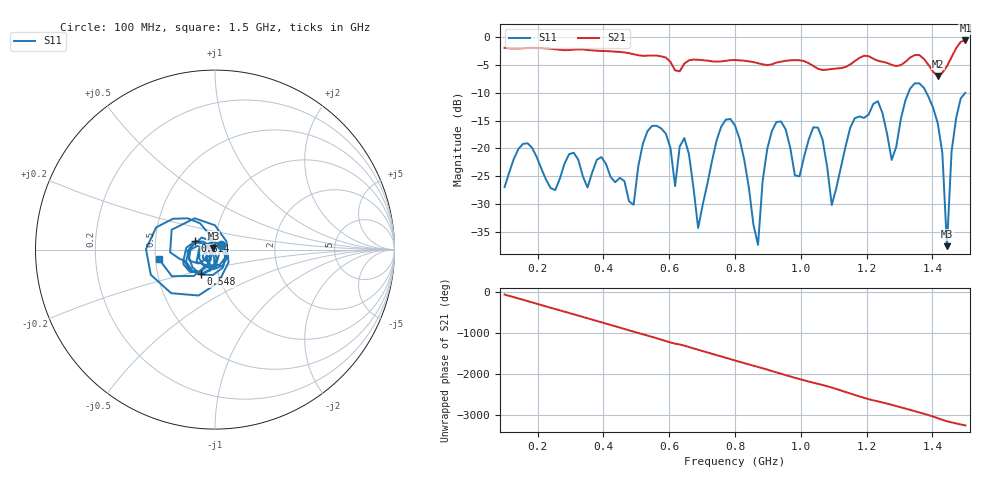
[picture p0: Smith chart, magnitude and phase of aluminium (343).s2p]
! NanoVNA-App
! Date: 2025-09-25 14:57:57
! Start: 100MHz Stop: 1,5GHz Points: 101
! S-Parameter data: F S11 S21 S12 S22
# Hz S RI R 50
!  Frequency  S11_Real  S11_Imag  S21_Real  S21_Imag  S12_Real  S12_Imag  S22_Real  S22_Imag
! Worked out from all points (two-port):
!   101 points, 100 MHz to 1.5 GHz, reference 50 ohm
!   highest |S21| = -0.59 dB at 1.5 GHz (marker M1); lowest = -7.0 dB at 1.416 GHz (marker M2)
!   |S21| within 3 dB of the highest: start of sweep to 585 MHz; 1.458 GHz to end of sweep (the widest 2 of 4)
!   lowest |S11| = -37.6 dB at 1.444 GHz (marker M3), VSWR 1.03, Z = 49.1 + j0.954 ohm
!   |S11| at or under -10 dB: start of sweep to 1.327 GHz; 1.382 GHz to end of sweep
!   S12 and S22 are empty: the file has one direction only
!   S11 on the Smith chart (normalised r, x): 100 MHz: 1.07, +0.06; 548 MHz: 0.82, -0.23; 814 MHz: 0.79, +0.07; 1.5 GHz: 0.52, -0.06
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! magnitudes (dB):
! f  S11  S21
! 100 MHz  -27.0  -1.9
! 338 MHz  -25.1  -2.2
! 492 MHz  -30.1  -3.1
! 548 MHz  -16.0  -3.3
! 576 MHz  -16.4  -3.5
! 618 MHz  -26.8  -6.0
! 646 MHz  -18.1  -4.8
! 688 MHz  -34.3  -4.1
! 800 MHz  -15.9  -4.1
! 814 MHz  -18.3  -4.2
! 870 MHz  -37.4  -4.7
! 912 MHz  -16.9  -4.9
! 996 MHz  -25.0  -4.2
! 1.038 GHz  -16.2  -5.2
! 1.094 GHz  -30.2  -5.7
! 1.22 GHz  -12.0  -3.9
! 1.276 GHz  -22.1  -5.0
! 1.346 GHz  -8.3  -3.2
! 1.416 GHz  -15.5  -7.0
! 1.444 GHz  -37.6  -5.2
! 1.458 GHz  -20.6  -3.6
! 1.5 GHz  -10.0  -0.6
